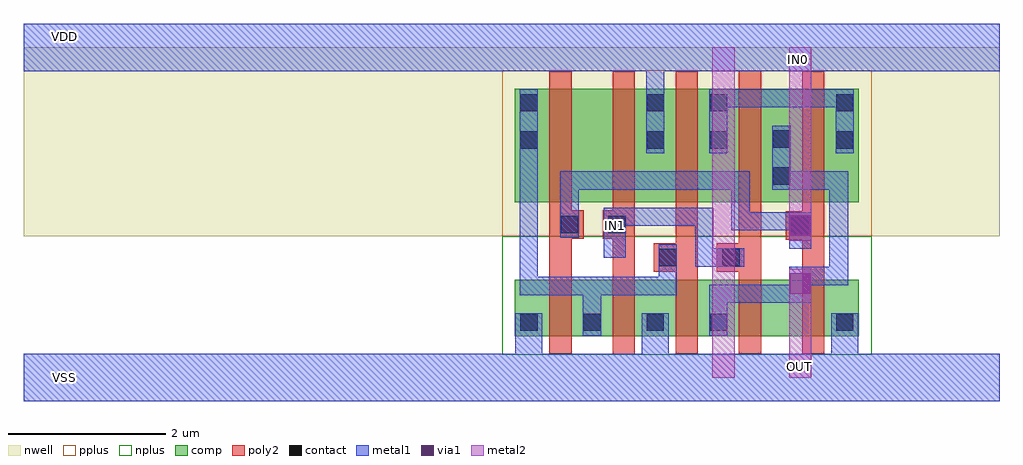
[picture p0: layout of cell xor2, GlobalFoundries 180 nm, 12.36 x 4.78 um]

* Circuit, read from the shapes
.subckt xor2 IN0 IN1 OUT VDD VSS
XM1 n1 IN0 VSS VSUBS nfet_03v3 w=0.72u l=0.28u
XM2 VSS IN1 n1 VSUBS nfet_03v3 w=0.72u l=0.28u
XM3 OUT n1 VSS VSUBS nfet_03v3 w=0.72u l=0.28u
XM4 n2 IN1 OUT VSUBS nfet_03v3 w=0.72u l=0.28u
XM5 VSS IN0 n2 VSUBS nfet_03v3 w=0.72u l=0.28u
XM6 n3 IN0 n1 n4 pfet_03v3 w=1.44u l=0.28u
XM7 VDD IN1 n3 n4 pfet_03v3 w=1.44u l=0.28u
XM8 n5 n1 VDD n4 pfet_03v3 w=1.44u l=0.28u
XM9 OUT IN1 n5 n4 pfet_03v3 w=1.44u l=0.28u
XM10 n5 IN0 OUT n4 pfet_03v3 w=1.44u l=0.28u
.ends

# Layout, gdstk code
import gdstk
lib = gdstk.Library(unit=1e-6, precision=5e-09)
def R(c, l, rs):  # rectangles x0, y0, x1, y1
    for r in rs: c.add(gdstk.rectangle(r[:2], r[2:], *l))
def A(c, l, x, y, w, h, nx, ny, dx, dy):  # array of equal rectangles
    R(c, l, [(x+i*dx, y+j*dy, x+i*dx+w, y+j*dy+h) for i in range(nx) for j in range(ny)])
nwell = (21, 0)
comp = (22, 0)
poly2 = (30, 0)
pplus = (31, 0)
nplus = (32, 0)
contact = (33, 0)
metal1 = (34, 0)
via1 = (35, 0)
metal2 = (36, 0)
via2 = (38, 0)

xor2 = lib.new_cell('xor2')
R(xor2, nwell, [(0,1.79,12.36,4.18)])
R(xor2, comp, [(6.22,0.52,10.58,1.24), (6.22,2.22,10.58,3.66)])
A(xor2, poly2, 6.66, 0.3, 0.28, 3.58, 3, 1, 1.6, 0)
R(xor2, poly2, [(7.46,0.295,7.74,3.88), (9.06,0.3,9.34,3.885), (7.98,1.34,8.34,1.7), (8.78,1.34,9.14,1.7), (9.655,1.745,10.015,2.105), (6.735,1.76,7.095,2.12), (7.335,1.76,7.695,2.12)])
R(xor2, pplus, [(6.06,1.79,10.74,3.89)])
R(xor2, nplus, [(6.06,0.29,10.74,1.79)])
A(xor2, contact, 6.29, 0.59, 0.22, 0.22, 4, 1, 0.8, 0)
R(xor2, contact, [(10.29,0.59,10.51,0.81), (8.05,1.41,8.27,1.63), (8.85,1.41,9.07,1.63), (9.725,1.815,9.945,2.035), (6.805,1.83,7.025,2.05), (7.405,1.83,7.625,2.05), (9.49,2.44,9.71,2.66), (6.29,2.9,6.51,3.12), (7.89,2.9,8.11,3.12), (8.69,2.9,8.91,3.12), (10.29,2.9,10.51,3.12), (9.49,2.91,9.71,3.13), (6.29,3.37,6.51,3.59), (7.89,3.37,8.11,3.59), (8.69,3.37,8.91,3.59), (10.29,3.37,10.51,3.59)])
R(xor2, metal1, [(0,-0.3,12.36,0.3), (6.23,0.3,6.57,0.815), (7.83,0.3,8.17,0.815), (10.23,0.3,10.57,0.815), (7.085,0.53,7.315,1.045), (8.685,0.53,8.915,1.175), (8.915,0.945,9.695,1.175), (9.695,0.945,9.975,1.4), (6.285,1.045,6.515,3.65), (6.515,1.045,8.275,1.275), (9.975,1.17,10.445,1.4), (8.045,1.275,8.275,1.69), (10.205,1.4,10.445,2.38), (8.505,1.405,8.735,1.92), (8.735,1.405,9.13,1.635), (7.35,1.52,7.63,2.15), (9.695,1.63,9.975,2.095), (6.8,1.77,7.03,2.61), (8.965,1.865,9.195,2.38), (9.195,1.865,9.695,2.095), (7.63,1.92,8.735,2.15), (7.03,2.38,9.195,2.61), (9.485,2.38,9.715,3.19), (9.715,2.38,10.445,2.61), (7.885,2.84,8.115,3.88), (8.685,2.84,8.915,3.65), (10.285,2.84,10.515,3.65), (8.915,3.42,10.285,3.65), (0,3.88,12.36,4.48)])
R(xor2, via1, [(9.705,1.06,9.965,1.32), (9.705,1.795,9.965,2.055)])
R(xor2, metal2, [(9.695,0,9.975,1.38), (9.695,1.735,9.975,4.18)])
xor2.add(gdstk.FlexPath([(7.49,1.94),(7.49,1.94)], 0.26, ends="extended", simple_path=True, layer=35, datatype=0))  # via1
xor2.add(gdstk.FlexPath([(7.49,1.94),(7.49,1.94)], 0.38, ends="extended", simple_path=True, layer=36, datatype=0))  # metal2
xor2.add(gdstk.FlexPath([(8.865,0),(8.865,4.18)], 0.28, ends="flush", simple_path=True, layer=36, datatype=0))  # metal2
xor2.add(gdstk.FlexPath([(7.49,1.94),(7.49,1.94)], 0.26, ends="extended", simple_path=True, layer=38, datatype=0))  # via2
xor2.add(gdstk.Label('VSS', (0.52,0), layer=34, texttype=10))
xor2.add(gdstk.Label('VDD', (0.52,4.32), layer=34, texttype=10))
xor2.add(gdstk.Label('IN1', (7.5,1.92), layer=34, texttype=10))
xor2.add(gdstk.Label('OUT', (9.83,0.14), layer=36, texttype=10))
xor2.add(gdstk.Label('IN0', (9.81,4.025), layer=36, texttype=10))

lib.write_gds('xor2.gds')
